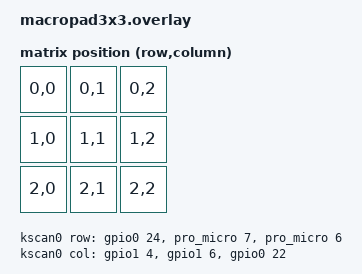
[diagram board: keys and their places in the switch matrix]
/*
 * Copyright (c) 2024
 * SPDX-License-Identifier: MIT
 */

#include <dt-bindings/zmk/matrix_transform.h>

/ {
    chosen {
        zmk,kscan = &kscan0;
        zmk,matrix_transform = &default_transform;
        zephyr,display = &oled;
    };

    default_transform: keymap_transform_0 {
        compatible = "zmk,matrix-transform";
        columns = <3>;
        rows = <3>;
        // | SW1 | SW2 | SW3 |
        // | SW4 | SW5 | SW6 |
        // | SW7 | SW8 | SW9 |
        map = <
            RC(0,0) RC(0,1) RC(0,2)
            RC(1,0) RC(1,1) RC(1,2)
            RC(2,0) RC(2,1) RC(2,2)
        >;
    };

    kscan0: kscan {
        compatible = "zmk,kscan-gpio-matrix";
        label = "KSCAN";
        diode-direction = "col2row";

        row-gpios
	        = <&gpio0 24 (GPIO_ACTIVE_HIGH | GPIO_PULL_DOWN)>
	        , <&pro_micro 7 (GPIO_ACTIVE_HIGH | GPIO_PULL_DOWN)>
		    , <&pro_micro 6 (GPIO_ACTIVE_HIGH | GPIO_PULL_DOWN)>
	        ;

        col-gpios
    	    = <&gpio1 4 GPIO_ACTIVE_HIGH>
    	    , <&gpio1 6 GPIO_ACTIVE_HIGH>
    	    , <&gpio0 22 GPIO_ACTIVE_HIGH>
    	    ;
    };
};

&pro_micro_i2c {
    status = "okay";

    oled: ssd1306@3c {
        compatible = "solomon,ssd1306fb";
        reg = <0x3c>;
        label = "DISPLAY";
        width = <128>;
        height = <32>;
        segment-offset = <0>;
        page-offset = <0>;
        display-offset = <0>;
        multiplex-ratio = <31>;
        segment-remap;
        com-invdir;
        com-sequential;
        prechargep = <0x22>;
    };
};

